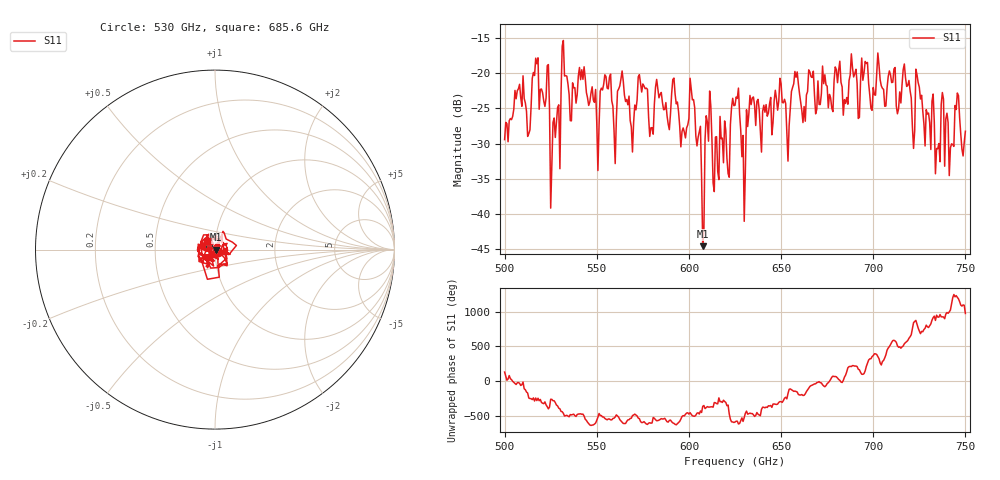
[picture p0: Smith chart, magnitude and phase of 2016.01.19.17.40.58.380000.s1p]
!Created with skrf (http://scikit-rf.org).
# GHz S RI R 50.0
!freq ReS11 ImS11
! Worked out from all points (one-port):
!   401 points, 500 GHz to 750 GHz, reference 50 ohm
!   lowest |S11| = -44.5 dB at 607.5 GHz (marker M1), VSWR 1.01, Z = 50.6 - j0.0315 ohm
!   |S11| at or under -10 dB: start of sweep to end of sweep
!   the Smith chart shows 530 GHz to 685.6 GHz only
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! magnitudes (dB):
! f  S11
! 500 GHz  -29.4
! 506.9 GHz  -22.5
! 513.1 GHz  -28.6
! 516.9 GHz  -17.9
! 526.2 GHz  -27.0
! 531.2 GHz  -16.2
! 550 GHz  -27.0
! 556.2 GHz  -22.2
! 559.4 GHz  -28.2
! 562.5 GHz  -21.8
! 569.4 GHz  -31.2
! 573.8 GHz  -21.5
! 579.4 GHz  -27.7
! 593.8 GHz  -24.1
! 601.9 GHz  -23.8
! 607.5 GHz  -44.5
! 610.6 GHz  -29.6
! 614.4 GHz  -29.1
! 625 GHz  -24.6
! 629.4 GHz  -28.8
! 634.4 GHz  -23.5
! 653.8 GHz  -32.5
! 656.2 GHz  -22.0
! 687.5 GHz  -20.3
! 718.8 GHz  -21.7
! 735 GHz  -30.7
! 745.6 GHz  -22.8
! 750 GHz  -28.2
